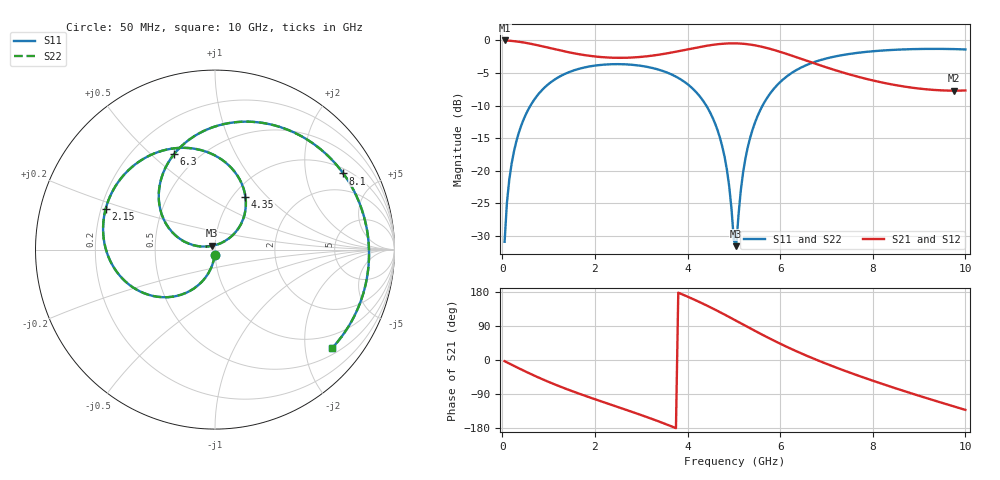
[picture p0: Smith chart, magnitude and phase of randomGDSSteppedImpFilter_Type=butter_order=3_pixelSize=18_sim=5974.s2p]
! freq	dB(S11)	phase(S11)	dB(S12)	phase(S12)
!  dB(S21)	phase(S21)	dB(S22)	phase(S22)
!S-par simulation data
#  GHz  S  DB  R 50
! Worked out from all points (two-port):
!   200 points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, 50 MHz to 10 GHz, reference 50 ohm
!   highest |S21| = -0.01 dB at 50 MHz (marker M1); lowest = -7.7 dB at 9.75 GHz (marker M2)
!   |S21| within 3 dB of the highest: start of sweep to 6.526 GHz
!   lowest |S11| = -31.6 dB at 5.05 GHz (marker M3), VSWR 1.05, Z = 48.4 + j2.06 ohm
!   |S11| at or under -10 dB: start of sweep to 608.9 MHz; 4.404 GHz to 5.621 GHz (1.217 GHz wide, 24.3 % of centre)
!   |S22| runs from -31.8 to -1.3 dB; largest |S21 - S12| = 0
!   S11 on the Smith chart (normalised r, x): 50 MHz: 1.00, -0.06; 2.15 GHz: 0.22, +0.17; 4.35 GHz: 1.14, +0.76; 6.3 GHz: 0.37, +0.59; 8.1 GHz: 1.18, +3.24; 10 GHz: 0.65, -2.61
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0.05  -30.91 -93.2  -0.01 -3.1  -0.01 -3.1  -30.91 -93.2
0.1  -24.91 -96.5  -0.02 -6.3  -0.02 -6.3  -24.91 -96.5
0.2  -18.98 -102.8  -0.08 -12.4  -0.08 -12.4  -18.98 -102.9
0.5  -11.48 -120.9  -0.36 -30.3  -0.36 -30.3  -11.48 -120.9
1.05  -6.41 -150.8  -1.21 -60.3  -1.21 -60.3  -6.41 -150.8
1.75  -4.19 176.7  -2.23 -92.8  -2.23 -92.8  -4.19 176.6
2.15  -3.74 159.8  -2.56 -109.8  -2.56 -109.8  -3.74 159.7
3.4  -4.54 107.0  -2.17 -163.1  -2.17 -163.1  -4.54 107.0
4.35  -9.41 60.0  -0.90 147.7  -0.90 147.7  -9.41 59.8
4.8  -17.87 39.3  -0.49 119.9  -0.49 119.9  -17.88 39.0
5.05  -31.58 126.1  -0.45 103.6  -0.45 103.6  -31.80 126.6
5.2  -20.26 168.4  -0.51 93.7  -0.51 93.7  -20.27 168.8
5.4  -13.78 162.9  -0.69 80.6  -0.69 80.6  -13.79 163.1
5.85  -7.55 138.2  -1.43 52.1  -1.43 52.1  -7.55 138.3
6.3  -4.76 113.3  -2.45 25.9  -2.45 25.9  -4.76 113.3
6.7  -3.41 92.8  -3.43 4.7  -3.43 4.7  -3.41 92.8
7.35  -2.24 62.4  -4.92 -26.4  -4.92 -26.4  -2.24 62.4
8.1  -1.61 30.7  -6.30 -58.8  -6.30 -58.8  -1.61 30.7
8.35  -1.49 20.8  -6.67 -69.0  -6.67 -69.0  -1.49 20.7
9.05  -1.31 -5.9  -7.43 -96.4  -7.43 -96.4  -1.31 -5.9
9.75  -1.33 -31.1  -7.72 -122.5  -7.72 -122.5  -1.33 -31.1
10  -1.39 -39.9  -7.68 -131.7  -7.68 -131.7  -1.39 -40.0
